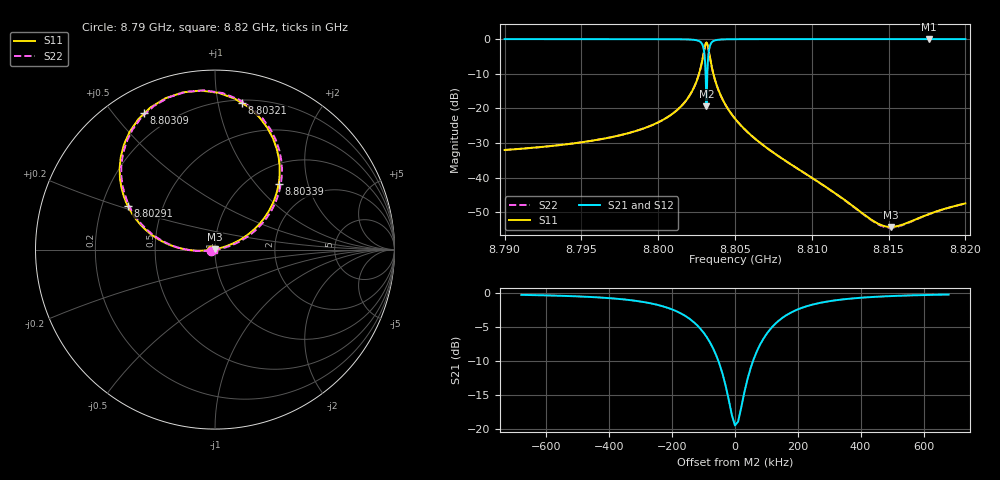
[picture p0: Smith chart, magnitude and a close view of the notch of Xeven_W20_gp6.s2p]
! Sonnet Data File
! From: emgraph Version : 16.52
! From Project: Qubit_Test_beforeopt
! Data is De-embedded
! Data File Written: 10/18/2017 16:57:22
!< HDATE 10/18/2017 09:03:38
!< MDATE 10/18/2017 09:03:38
!< PARAMS
!< Lj = 11.0
!< Gap = 6.0
!< Pwid = 2000.0
!< Airgap = 12.0
!< Width = 20.0
!< END PARAMS
# GHZ S MA R 51.80000
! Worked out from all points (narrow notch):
!   3001 points, 8.79 GHz to 8.82 GHz, reference 51.8 ohm
!   highest |S21| = 0.00 dB at 8.81763 GHz (marker M1); lowest = -19.4 dB at 8.80314 GHz (marker M2)
!   notch at M2: 19.4 dB deep, 115 kHz wide at half that depth
!   lowest |S11| = -54.3 dB at 8.81513 GHz (marker M3), VSWR 1.00, Z = 51.8 + j0.197 ohm
!   |S11| at or under -10 dB: start of sweep to 8.802661 GHz; 8.803588 GHz to end of sweep
!   |S22| runs from -54.5 to -1.0 dB; largest |S21 - S12| = 0
!   S11 on the Smith chart (normalised r, x): 8.79 GHz: 0.95, -0.00; 8.80291 GHz: 0.31, +0.22; 8.80309 GHz: 0.10, +0.60; 8.80321 GHz: 0.22, +1.17; 8.80339 GHz: 1.35, +1.33; 8.82 GHz: 0.99, +0.00
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8.79  0.02502 -174.9  0.9997 -81.2  0.9997 -81.2  0.02501 -167.5
!< P1 F=8.79 Eeff=(6.4461688 -2.9978e-5) Z0=(50.9065254 1.15671e-4) R=0.0 C=0.0
!< P2 F=8.79 Eeff=(6.4461688 -2.9978e-5) Z0=(50.9065254 1.15671e-4) R=0.0 C=0.0
8.795  0.0323 -174.4  0.9994 -81.6  0.9994 -81.6  0.0323 -169.0
8.8  0.06272 -174.8  0.9977 -83.4  0.9977 -83.4  0.0627 -172.6
8.80195  0.1425 -178.9  0.9878 -88.0  0.9878 -88.0  0.1424 -178.7
8.80264  0.3053 170.7  0.9416 -97.6  0.9416 -97.6  0.3051 170.0
8.80291  0.5451 153.3  0.7971 -112.8  0.7971 -112.8  0.5448 152.3
8.803  0.6976 139.6  0.6332 -123.6  0.6332 -123.6  0.6973 138.5
8.80309  0.8575 117.4  0.3038 -133.8  0.3038 -133.8  0.8571 116.2
8.80314  0.8942 101.6  0.1069 -86.8  0.1069 -86.8  0.8938 100.3
8.80321  0.8329 79.7  0.3748 -26.5  0.3748 -26.5  0.8325 78.3
8.8033  0.6597 58.6  0.6776 -39.0  0.6776 -39.0  0.6594 57.1
8.80339  0.5083 45.8  0.8234 -49.4  0.8234 -49.4  0.5081 44.1
8.80355  0.3422 33.8  0.9237 -59.9  0.9237 -59.9  0.3421 31.9
8.80379  0.2213 25.8  0.9685 -67.1  0.9685 -67.1  0.2212 23.5
8.805  0.07096 17.1  0.9966 -75.8  0.9966 -75.8  0.07092 12.7
8.80677  0.03012 16.6  0.9993 -78.2  0.9993 -78.2  0.03009 8.0
8.81  0.009953 22.8  0.9999 -79.4  0.9999 -79.4  0.009929 -0.7
8.81397  0.002389 65.1  1 -79.9  1 -79.9  0.002345 -44.1
8.815  0.001942 96.7  1 -80.0  1 -80.0  0.001897 -76.5
8.81513  0.001937 100.9  1 -80.0  1 -80.0  0.001892 -80.8
8.81763  0.002972 150.0  1 -80.1  1 -80.1  0.002951 -130.7
8.82  0.004241 163.4  1 -80.2  1 -80.2  0.00423 -144.1
